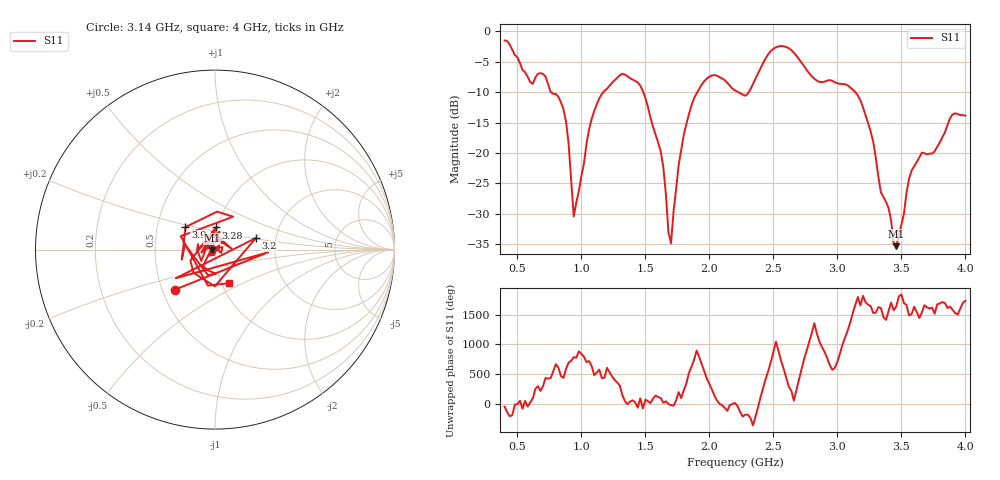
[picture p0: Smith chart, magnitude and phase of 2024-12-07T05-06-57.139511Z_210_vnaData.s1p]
!Created with skrf (http://scikit-rf.org).
# Hz S RI R 50.0
!freq ReS11 ImS11
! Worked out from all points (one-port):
!   181 points, 400 MHz to 4 GHz, reference 50 ohm
!   lowest |S11| = -35.3 dB at 3.46 GHz (marker M1), VSWR 1.03, Z = 48.4 - j0.478 ohm
!   |S11| at or under -10 dB: 761.3 MHz to 1.171 GHz (410 MHz wide, 42.4 % of centre); 1.483 GHz to 1.906 GHz (422.8 MHz wide, 25 % of centre); 3.141 GHz to end of sweep (the widest 3 of 4)
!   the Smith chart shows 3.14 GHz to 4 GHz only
!   S11 on the Smith chart (normalised r, x): 3.14 GHz: 0.58, -0.29; 3.2 GHz: 1.57, +0.22; 3.28 GHz: 0.98, +0.25; 3.9 GHz: 0.70, +0.18; 4 GHz: 1.09, -0.42
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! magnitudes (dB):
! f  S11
! 400 MHz  -1.5
! 860 MHz  -12.8
! 900 MHz  -18.5
! 940 MHz  -30.5
! 1.1 GHz  -13.1
! 1.3 GHz  -7.2
! 1.5 GHz  -11.0
! 1.62 GHz  -19.8
! 1.68 GHz  -33.1
! 1.7 GHz  -34.9
! 1.76 GHz  -22.0
! 1.84 GHz  -13.6
! 1.94 GHz  -8.7
! 2.04 GHz  -7.2
! 2.2 GHz  -9.7
! 2.3 GHz  -10.2
! 2.5 GHz  -2.9
! 2.66 GHz  -3.5
! 2.84 GHz  -8.1
! 3.1 GHz  -9.2
! 3.14 GHz  -10.0
! 3.2 GHz  -12.5
! 3.28 GHz  -18.2
! 3.34 GHz  -26.5
! 3.46 GHz  -35.3
! 3.56 GHz  -24.2
! 3.9 GHz  -13.7
! 4 GHz  -13.9
